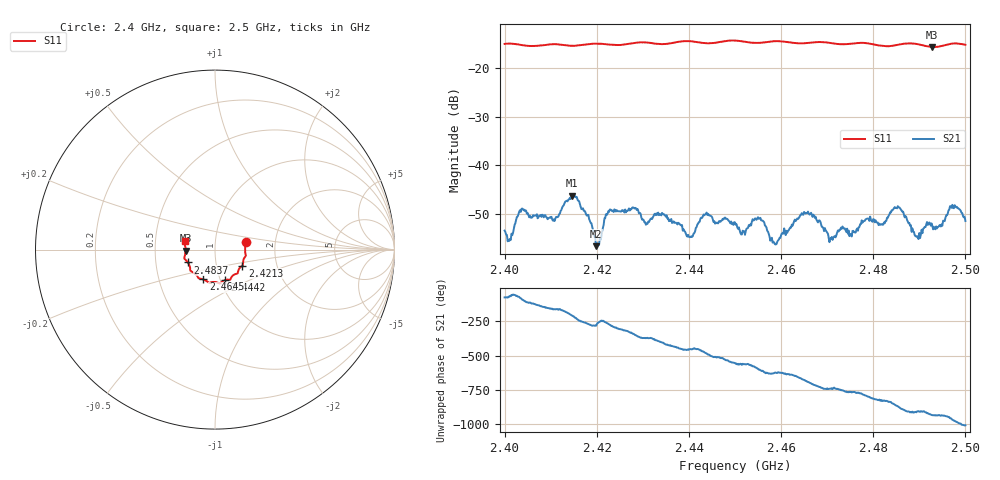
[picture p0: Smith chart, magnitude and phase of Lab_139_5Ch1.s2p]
# Hz S RI R 50
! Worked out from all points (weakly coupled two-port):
!   601 points, 2.4 GHz to 2.5 GHz, reference 50 ohm
!   highest |S21| = -46.27 dB at 2.4147 GHz (marker M1); lowest = -56.6 dB at 2.4198 GHz (marker M2)
!   lowest |S11| = -15.7 dB at 2.4928 GHz (marker M3), VSWR 1.39, Z = 36 - j0.385 ohm
!   |S11| at or under -10 dB: start of sweep to end of sweep
!   S12 and S22 are empty: the file has one direction only
!   S11 on the Smith chart (normalised r, x): 2.4 GHz: 1.41, +0.12; 2.4213 GHz: 1.33, -0.25; 2.4442 GHz: 1.05, -0.37; 2.4645 GHz: 0.83, -0.29; 2.4837 GHz: 0.73, -0.11; 2.5 GHz: 0.71, +0.07
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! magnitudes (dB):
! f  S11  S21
! 2.4 GHz  -15.1  -53.4
! 2.4037 GHz  -15.3  -48.9
! 2.4147 GHz  -15.5  -46.3
! 2.4167 GHz  -15.3  -49.0
! 2.4198 GHz  -15.0  -56.6
! 2.4213 GHz  -15.1  -52.9
! 2.423 GHz  -15.2  -49.1
! 2.4333 GHz  -15.1  -49.7
! 2.4402 GHz  -14.5  -54.8
! 2.4442 GHz  -15.0  -50.0
! 2.45 GHz  -14.4  -51.7
! 2.4555 GHz  -14.9  -50.8
! 2.4587 GHz  -14.5  -56.2
! 2.4645 GHz  -15.0  -49.8
! 2.4667 GHz  -14.8  -50.1
! 2.4708 GHz  -14.9  -55.1
! 2.4833 GHz  -15.6  -50.4
! 2.4837 GHz  -15.5  -49.7
! 2.4897 GHz  -15.1  -54.9
! 2.4928 GHz  -15.7  -52.4
! 2.4972 GHz  -15.0  -48.1
! 2.5 GHz  -15.3  -51.4
